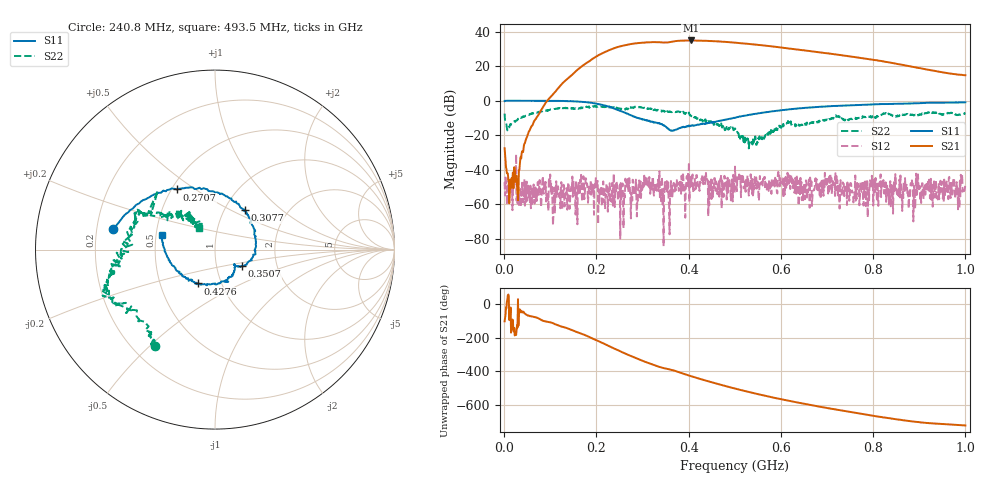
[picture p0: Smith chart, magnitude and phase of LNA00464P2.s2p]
! Created with skrf 1.9.0 (http://scikit-rf.org).
# Hz S RI R 50.0
!freq ReS11 ImS11 ReS21 ImS21 ReS12 ImS12 ReS22 ImS22
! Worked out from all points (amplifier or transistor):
!   1001 points, 1 MHz to 1 GHz, reference 50 ohm
!   highest |S21| = 34.9 dB at 404.6 MHz (marker M1)
!   |S21| within 3 dB of that: 257.5 MHz to 565.8 MHz (308.3 MHz wide, 74.9 % of centre)
!   unconditionally stable (mu >= 1): 202.9 MHz to 237.3 MHz; 270.9 MHz to 387.6 MHz; 400.9 MHz to end of sweep (the widest 3 of 37)
!   at 166.8 MHz: K = 0.27, MSG = 31.3 dB, |S12| = -42.9 dB
!   at 500.5 MHz: K = 1.08, MAG = 34.2 dB, |S12| = -38.2 dB
!   at 1 GHz: K = 3.71, MAG = 22.6 dB, |S12| = -47.7 dB
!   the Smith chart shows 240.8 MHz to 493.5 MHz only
!   S11 on the Smith chart (normalised r, x): 240.8 MHz: 0.27, +0.09; 270.7 MHz: 0.53, +0.42; 307.7 MHz: 1.24, +0.59; 350.6 MHz: 1.33, -0.25; 427.6 MHz: 0.77, -0.30; 493.5 MHz: 0.54, +0.10
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1000000  0.979 0.00748  -0.01 -0.041  -0.0044 0.000155  0.3248 0.2736
1.08892e8  0.5287 -0.8431  -0.8045 -1.508  -7.64e-05 0.00308  0.4155 -0.3987
1.67833e8  -0.2216 -0.9045  -9.832 -0.5252  -0.0028 0.000565  0.0248 -0.6314
2.08792e8  -0.6653 -0.4097  -15.54 16.17  0.00132 0.00104  -0.2318 -0.6409
2.4076e8  -0.5665 0.1127  -1.529 34.17  0.00248 -0.00201  -0.3364 -0.5382
2.7073e8  -0.2134 0.3351  24.19 35.32  -0.00167 -0.00545  -0.5436 -0.3048
3.07693e8  0.1671 0.2205  47.39 12.51  0.000334 0.00501  -0.5686 -0.127
3.34666e8  0.2249 -0.00491  48.59 -10.33  -0.00118 0.0021  -0.5209 -0.0211
3.5065e8  0.1504 -0.0912  44.54 -19.64  -0.00183 0.00199  -0.4852 0.0647
3.73627e8  0.109 -0.0987  41.19 -34.82  0.000233 0.00282  -0.4464 0.1913
4.04596e8  0.0267 -0.1882  20.56 -51.92  0.000509 0.00618  -0.3044 0.2047
4.27573e8  -0.0963 -0.1885  2.833 -54.83  0.00361 0.00418  -0.2079 0.1744
4.55545e8  -0.2195 -0.1101  -17.76 -49.94  0.00412 0.00395  -0.1601 0.1723
4.93507e8  -0.2965 0.0838  -36.06 -33.3  0.00306 -0.000931  -0.0886 0.1226
5.005e8  -0.2899 0.126  -38.34 -29.64  0.000999 -0.0123  -0.1391 0.0781
5.39461e8  -0.2365 0.3335  -42.17 -8.696  0.0018 0.000191  -0.0746 -0.014
5.84416e8  -0.0502 0.4987  -35.73 10.37  0.00504 -0.00186  -0.1141 -0.059
6.25375e8  0.1486 0.5579  -24.44 19.97  0.00515 -0.00129  -0.192 -0.1088
6.67333e8  0.3494 0.5392  -12.78 23.61  -0.000204 -0.000868  -0.2271 -0.0527
7.53247e8  0.6473 0.3587  4.211 18.49  -0.00191 -0.00116  -0.2941 -0.0124
8.34166e8  0.7979 0.1203  9.634 8.655  -0.000347 -0.000929  -0.4029 0.0334
1e9  0.8038 -0.4122  5.49 -0.1112  0.00205 -0.00359  -0.2385 0.3418
